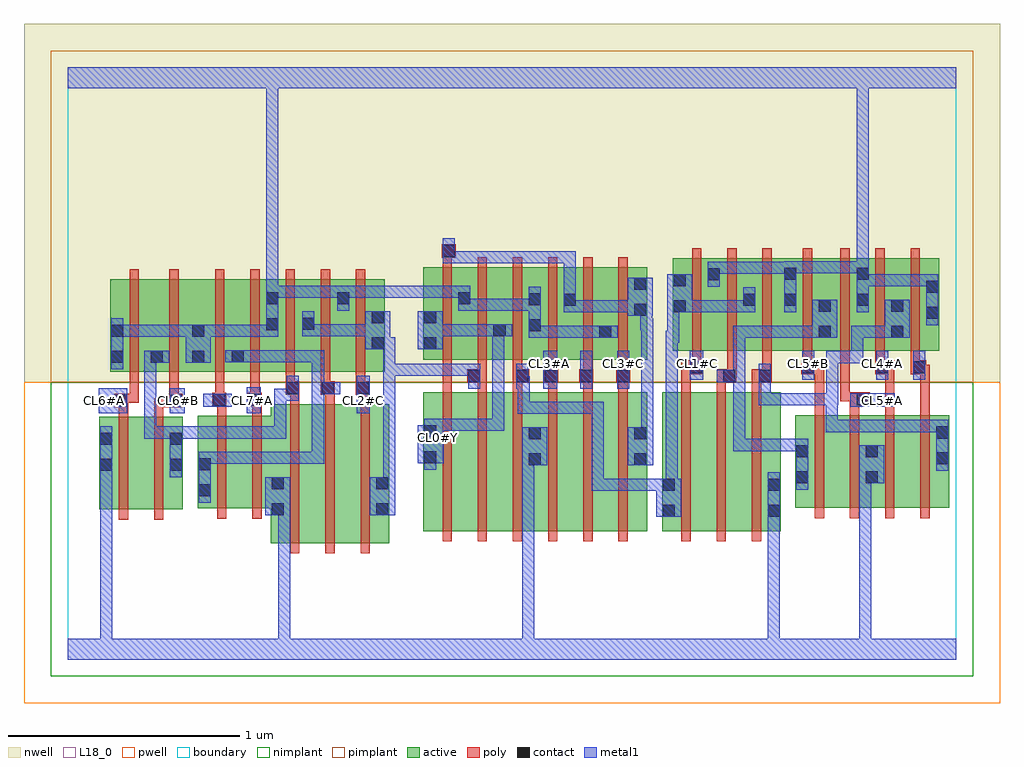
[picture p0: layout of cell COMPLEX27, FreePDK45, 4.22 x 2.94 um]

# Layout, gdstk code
import gdstk
lib = gdstk.Library(unit=1e-6, precision=1e-09)
def R(c, l, rs):  # rectangles x0, y0, x1, y1
    for r in rs: c.add(gdstk.rectangle(r[:2], r[2:], *l))
def A(c, l, x, y, w, h, nx, ny, dx, dy):  # array of equal rectangles
    R(c, l, [(x+i*dx, y+j*dy, x+i*dx+w, y+j*dy+h) for i in range(nx) for j in range(ny)])
active = (1, 0)
pwell = (2, 0)
nwell = (3, 0)
nimplant = (4, 0)
pimplant = (5, 0)
poly = (9, 0)
contact = (10, 0)
metal1 = (11, 0)
L18_0 = (18, 0)
boundary = (235, 0)

complex27 = lib.new_cell('COMPLEX27')
A(complex27, active, 1.684, 1.296, 0.212, 0.4, 5, 1, 0.152, 0)
R(complex27, active, [(0.878,0.504,1.058,1.104), (1.058,0.504,1.21,1.104), (1.21,0.504,1.39,1.104), (1.33,0.556,1.39,1.104), (1.536,0.556,1.596,1.156), (1.536,0.556,1.716,1.156), (1.716,0.556,1.868,1.156), (1.868,0.556,2.048,1.156), (1.988,0.556,2.172,1.156), (1.988,0.556,2.048,1.008), (2.172,0.556,2.324,1.156), (2.324,0.556,2.504,1.156), (2.444,0.556,2.504,1.156), (2.568,0.556,2.628,1.156), (2.568,0.556,2.748,1.156), (2.748,0.556,2.9,1.156), (2.9,0.556,3.08,1.156), (3.02,0.556,3.08,1.156), (0.878,0.62,0.938,0.792), (0.138,0.65,0.318,1.05), (0.138,0.65,0.198,1.05), (0.318,0.65,0.498,1.05), (0.438,0.65,0.498,1.05), (0.562,0.654,0.742,1.054), (0.742,0.654,0.938,1.054), (3.144,0.656,3.324,1.056), (3.324,0.656,3.504,1.056), (3.444,0.656,3.628,1.056), (3.444,0.656,3.504,1.056), (3.628,0.656,3.808,1.056), (0.562,0.702,0.622,1.054), (3.144,0.756,3.204,1.056), (3.748,0.756,3.808,1.056), (0.184,1.244,0.244,1.644), (0.184,1.244,0.416,1.644), (0.356,1.244,0.594,1.644), (0.534,1.244,0.766,1.644), (0.706,1.244,0.914,1.644), (0.854,1.244,1.07,1.644), (1.01,1.244,1.222,1.644), (1.162,1.244,1.37,1.644), (1.31,1.244,1.37,1.644), (0.356,1.28,0.416,1.644), (0.534,1.28,0.594,1.644), (0.706,1.282,0.766,1.644), (1.536,1.296,1.596,1.696), (1.536,1.296,1.744,1.696), (1.684,1.296,1.744,1.696), (2.444,1.296,2.504,1.696), (2.614,1.334,2.674,1.734), (2.614,1.334,2.822,1.734), (2.762,1.334,2.974,1.734), (2.914,1.334,3.152,1.734), (3.092,1.334,3.3,1.734), (3.24,1.334,3.466,1.734), (3.406,1.334,3.614,1.734), (3.554,1.334,3.766,1.734), (3.706,1.334,3.766,1.644), (2.292,1.388,2.352,1.644), (3.24,1.388,3.3,1.644), (3.554,1.388,3.614,1.644), (1.836,1.394,1.896,1.644), (1.988,1.416,2.048,1.644), (0.854,1.42,0.914,1.644), (1.01,1.422,1.07,1.644), (2.762,1.472,2.822,1.734), (3.092,1.472,3.152,1.734), (2.14,1.526,2.2,1.644), (2.914,1.526,2.974,1.644), (3.406,1.526,3.466,1.698), (1.162,1.532,1.222,1.644)])
R(complex27, pwell, [(-0.188,-0.188,4.028,1.2)])
R(complex27, nwell, [(-0.188,1.2,4.028,2.748)])
R(complex27, nimplant, [(-0.072,-0.072,3.912,1.2)])
R(complex27, pimplant, [(-0.072,1.2,3.912,2.632)])
A(complex27, poly, 0.962, 0.46, 0.04, 0.688, 3, 1, 0.152, 0)
A(complex27, poly, 1.62, 0.512, 0.04, 0.688, 6, 1, 0.152, 0)
A(complex27, poly, 2.652, 0.512, 0.04, 0.688, 3, 1, 0.152, 0)
A(complex27, poly, 3.228, 0.612, 0.04, 0.488, 4, 1, 0.152, 0)
A(complex27, poly, 0.962, 1.108, 0.04, 0.076, 3, 1, 0.152, 0)
A(complex27, poly, 0.942, 1.144, 0.06, 0.06, 3, 1, 0.152, 0)
A(complex27, poly, 1.62, 1.16, 0.04, 0.076, 6, 1, 0.152, 0)
A(complex27, poly, 0.942, 1.164, 0.04, 0.076, 3, 1, 0.152, 0)
A(complex27, poly, 0.638, 1.2, 0.04, 0.488, 5, 1, 0.152, 0)
A(complex27, poly, 1.772, 1.216, 0.04, 0.076, 5, 1, 0.152, 0)
A(complex27, poly, 1.62, 1.252, 0.04, 0.488, 6, 1, 0.152, 0)
A(complex27, poly, 2.698, 1.29, 0.04, 0.488, 3, 1, 0.152, 0)
A(complex27, poly, 3.338, 1.29, 0.04, 0.488, 3, 1, 0.152, 0)
R(complex27, poly, [(0.222,0.606,0.262,1.094), (0.374,0.606,0.414,1.094), (0.646,0.61,0.686,1.098), (0.798,0.61,0.838,1.098), (0.222,1.054,0.262,1.13), (0.374,1.054,0.414,1.13), (0.646,1.058,0.686,1.134), (0.798,1.058,0.838,1.134), (3.228,1.06,3.268,1.274), (3.38,1.06,3.42,1.136), (3.532,1.06,3.572,1.274), (3.684,1.06,3.724,1.274), (0.202,1.09,0.262,1.15), (0.374,1.09,0.478,1.13), (0.438,1.09,0.478,1.13), (0.438,1.09,0.498,1.15), (0.626,1.094,0.686,1.154), (0.646,1.094,0.686,1.134), (0.646,1.094,0.686,1.134), (0.778,1.094,0.838,1.154), (0.798,1.094,0.838,1.134), (0.798,1.094,0.838,1.134), (3.38,1.096,3.466,1.156), (0.222,1.11,0.262,1.15), (0.222,1.11,0.308,1.15), (0.268,1.11,0.308,1.24), (0.44,1.11,0.48,1.24), (0.638,1.114,0.678,1.24), (0.79,1.114,0.83,1.24), (3.338,1.116,3.378,1.33), (3.338,1.116,3.42,1.156), (3.38,1.116,3.42,1.156), (2.652,1.16,2.692,1.274), (2.804,1.16,2.844,1.236), (2.956,1.16,2.996,1.236), (0.942,1.164,0.982,1.204), (0.942,1.164,0.982,1.204), (1.094,1.164,1.134,1.204), (1.094,1.164,1.134,1.204), (1.246,1.164,1.286,1.204), (1.246,1.164,1.286,1.204), (1.62,1.196,1.66,1.236), (1.62,1.196,1.66,1.236), (1.62,1.196,1.66,1.236), (1.62,1.196,1.66,1.292), (1.726,1.196,1.812,1.256), (1.924,1.196,1.994,1.256), (2.06,1.196,2.12,1.256), (2.21,1.196,2.27,1.256), (2.37,1.196,2.43,1.256), (2.804,1.196,2.888,1.256), (2.956,1.196,3.042,1.256), (0.268,1.2,0.308,1.688), (0.44,1.2,0.48,1.688), (1.772,1.216,1.812,1.256), (1.772,1.216,1.812,1.256), (1.924,1.216,1.964,1.256), (1.924,1.216,1.964,1.256), (2.076,1.216,2.116,1.256), (2.076,1.216,2.116,1.256), (2.228,1.216,2.268,1.256), (2.228,1.216,2.268,1.256), (2.38,1.216,2.42,1.256), (2.38,1.216,2.42,1.256), (2.848,1.216,2.888,1.256), (2.848,1.216,2.89,1.256), (2.85,1.216,2.89,1.33), (3.002,1.216,3.042,1.256), (3.002,1.216,3.042,1.256), (3.002,1.216,3.042,1.33), (2.652,1.234,2.744,1.294), (3.17,1.234,3.23,1.294), (3.19,1.234,3.23,1.274), (3.19,1.234,3.268,1.274), (3.49,1.234,3.572,1.294), (3.532,1.234,3.572,1.274), (3.532,1.234,3.572,1.274), (3.642,1.234,3.71,1.294), (3.67,1.234,3.71,1.274), (3.67,1.234,3.724,1.274), (2.698,1.254,2.738,1.33), (2.698,1.254,2.738,1.294), (2.698,1.254,2.738,1.294), (3.176,1.254,3.216,1.33), (3.49,1.254,3.53,1.33), (3.642,1.254,3.682,1.33), (3.176,1.29,3.216,1.778), (1.62,1.7,1.66,1.776), (1.616,1.736,1.676,1.796)])
A(complex27, contact, 0.946, 1.148, 0.052, 0.052, 3, 1, 0.152, 0)
R(complex27, contact, [(2.572,0.618,2.624,0.67), (3.024,0.618,3.076,0.67), (0.882,0.624,0.934,0.676), (1.334,0.624,1.386,0.676), (0.566,0.706,0.618,0.758), (2.572,0.73,2.624,0.782), (3.024,0.73,3.076,0.782), (0.882,0.736,0.934,0.788), (1.334,0.736,1.386,0.788), (3.148,0.762,3.2,0.814), (3.448,0.762,3.5,0.814), (0.142,0.816,0.194,0.868), (0.442,0.816,0.494,0.868), (0.566,0.818,0.618,0.87), (1.992,0.84,2.044,0.892), (2.448,0.84,2.5,0.892), (3.752,0.844,3.804,0.896), (1.54,0.85,1.592,0.902), (1.54,0.85,1.592,0.902), (3.148,0.874,3.2,0.926), (3.448,0.874,3.5,0.926), (0.142,0.928,0.194,0.98), (0.442,0.928,0.494,0.98), (1.992,0.952,2.044,1.004), (2.448,0.952,2.5,1.004), (3.752,0.956,3.804,1.008), (1.54,0.962,1.592,1.014), (1.54,0.962,1.592,1.014), (0.206,1.094,0.258,1.146), (0.442,1.094,0.494,1.146), (0.63,1.098,0.682,1.15), (0.782,1.098,0.834,1.15), (3.41,1.1,3.462,1.152), (1.73,1.2,1.782,1.252), (1.938,1.2,1.99,1.252), (2.064,1.2,2.116,1.252), (2.214,1.2,2.266,1.252), (2.374,1.2,2.426,1.252), (2.832,1.2,2.884,1.252), (2.986,1.2,3.038,1.252), (2.688,1.238,2.74,1.29), (3.174,1.238,3.226,1.29), (3.494,1.238,3.546,1.29), (3.654,1.238,3.706,1.29), (0.188,1.284,0.24,1.336), (0.36,1.284,0.412,1.336), (0.538,1.284,0.59,1.336), (0.71,1.286,0.762,1.338), (1.314,1.342,1.366,1.394), (1.54,1.342,1.592,1.394), (2.296,1.392,2.348,1.444), (3.244,1.392,3.296,1.444), (3.558,1.392,3.61,1.444), (0.188,1.396,0.24,1.448), (0.538,1.396,0.59,1.448), (1.84,1.398,1.892,1.45), (1.992,1.42,2.044,1.472), (0.858,1.424,0.91,1.476), (1.014,1.426,1.066,1.478), (1.314,1.454,1.366,1.506), (1.54,1.454,1.592,1.506), (3.71,1.474,3.762,1.526), (2.448,1.486,2.5,1.538), (2.618,1.502,2.67,1.554), (3.244,1.504,3.296,1.556), (3.558,1.504,3.61,1.556), (2.144,1.53,2.196,1.582), (2.918,1.53,2.97,1.582), (3.096,1.53,3.148,1.582), (3.41,1.53,3.462,1.582), (1.992,1.532,2.044,1.584), (0.858,1.536,0.91,1.588), (1.166,1.536,1.218,1.588), (1.688,1.536,1.74,1.588), (3.71,1.586,3.762,1.638), (2.448,1.598,2.5,1.65), (2.618,1.614,2.67,1.666), (2.766,1.64,2.818,1.692), (3.096,1.642,3.148,1.694), (3.41,1.642,3.462,1.694), (1.62,1.74,1.672,1.792)])
A(complex27, metal1, 2.766, 1.668, 0.052, 0.052, 3, 1, 0.11, 0)
A(complex27, metal1, 2.766, 1.668, 0.162, 0.052, 3, 1, 0.11, 0)
R(complex27, metal1, [(0,0,3.84,0.092), (0.142,0.04,0.194,0.092), (0.142,0.04,0.194,0.092), (0.142,0.04,0.194,0.092), (0.142,0.04,0.194,0.092), (0.142,0.04,0.194,0.092), (0.142,0.04,0.194,0.092), (0.142,0.04,0.194,0.092), (0.142,0.04,0.194,0.092), (0.142,0.04,0.194,0.84), (0.91,0.04,0.962,0.092), (0.91,0.04,0.962,0.092), (0.91,0.04,0.962,0.092), (0.91,0.04,0.962,0.092), (0.91,0.04,0.962,0.092), (0.91,0.04,0.962,0.092), (0.91,0.04,0.962,0.092), (0.91,0.04,0.962,0.092), (0.91,0.04,0.962,0.676), (1.964,0.04,2.016,0.892), (3.024,0.04,3.076,0.092), (3.024,0.04,3.076,0.092), (3.024,0.04,3.076,0.642), (3.42,0.04,3.472,0.814), (3.024,0.59,3.076,0.642), (3.024,0.59,3.076,0.642), (3.024,0.59,3.076,0.642), (3.024,0.59,3.076,0.642), (3.024,0.59,3.076,0.642), (3.024,0.59,3.076,0.642), (3.024,0.59,3.076,0.81), (2.544,0.618,2.652,0.782), (0.854,0.624,0.962,0.788), (1.306,0.624,1.416,0.788), (0.566,0.678,0.618,0.898), (2.264,0.73,2.316,0.782), (2.264,0.73,2.486,0.782), (2.264,0.73,2.316,1.114), (2.434,0.73,2.486,0.782), (2.434,0.73,2.486,0.782), (2.434,0.73,2.486,0.782), (2.434,0.73,2.596,0.782), (2.584,0.73,2.636,0.782), (2.584,0.73,2.636,0.782), (2.584,0.73,2.636,1.422), (3.148,0.734,3.2,0.954), (1.364,0.736,1.416,1.28), (3.42,0.762,3.472,0.814), (3.42,0.762,3.472,0.814), (3.42,0.762,3.472,0.814), (3.42,0.762,3.472,0.814), (3.42,0.762,3.472,0.814), (3.42,0.762,3.472,0.814), (3.42,0.762,3.472,0.814), (3.42,0.762,3.472,0.814), (3.42,0.762,3.472,0.814), (3.42,0.762,3.472,0.814), (3.42,0.762,3.472,0.814), (3.42,0.762,3.472,0.814), (3.42,0.762,3.528,0.926), (0.142,0.788,0.194,0.84), (0.142,0.788,0.194,0.84), (0.142,0.788,0.194,0.84), (0.142,0.788,0.194,0.84), (0.142,0.788,0.194,1.008), (0.442,0.788,0.494,1.008), (3.752,0.816,3.804,1.036), (1.54,0.822,1.592,1.042), (1.964,0.84,2.016,0.892), (1.964,0.84,2.016,0.892), (1.964,0.84,2.016,0.892), (1.964,0.84,2.016,0.892), (1.964,0.84,2.016,0.892), (1.964,0.84,2.016,0.892), (1.964,0.84,2.016,0.892), (1.964,0.84,2.016,0.892), (1.964,0.84,2.072,1.004), (2.42,0.84,2.53,1.004), (0.566,0.846,0.618,0.898), (0.566,0.846,0.618,0.898), (0.566,0.846,0.796,0.898), (0.744,0.846,0.796,0.898), (0.744,0.846,0.796,0.898), (0.744,0.846,0.796,0.898), (0.744,0.846,0.946,0.898), (0.894,0.846,0.946,0.898), (0.894,0.846,0.946,0.898), (0.894,0.846,0.946,0.898), (0.894,0.846,1.108,0.898), (1.056,0.846,1.108,0.898), (1.056,0.846,1.108,1.2), (1.512,0.85,1.626,1.014), (2.876,0.902,2.928,0.954), (2.876,0.902,3.038,0.954), (2.876,0.902,2.928,1.252), (2.986,0.902,3.038,0.954), (2.986,0.902,3.038,0.954), (2.986,0.902,3.038,0.954), (2.986,0.902,3.2,0.954), (2.478,0.952,2.53,1.476), (0.332,0.956,0.384,1.008), (0.332,0.956,0.384,1.008), (0.332,0.956,0.384,1.008), (0.332,0.956,0.384,1.008), (0.332,0.956,0.384,1.008), (0.332,0.956,0.384,1.008), (0.332,0.956,0.384,1.008), (0.332,0.956,0.494,1.008), (0.332,0.956,0.508,1.008), (0.332,0.956,0.384,1.336), (0.456,0.956,0.508,1.008), (0.456,0.956,0.508,1.008), (0.456,0.956,0.508,1.008), (0.456,0.956,0.618,1.008), (0.566,0.956,0.618,1.008), (0.566,0.956,0.796,1.008), (0.744,0.956,0.796,1.008), (0.744,0.956,0.796,1.008), (0.744,0.956,0.796,1.008), (0.744,0.956,0.944,1.008), (0.892,0.956,0.944,1.172), (3.276,0.984,3.328,1.036), (3.276,0.984,3.352,1.036), (3.276,0.984,3.328,1.152), (3.3,0.984,3.352,1.036), (3.3,0.984,3.472,1.036), (3.42,0.984,3.472,1.036), (3.42,0.984,3.582,1.036), (3.53,0.984,3.582,1.036), (3.53,0.984,3.582,1.036), (3.53,0.984,3.582,1.036), (3.53,0.984,3.804,1.036), (3.752,0.984,3.804,1.036), (3.752,0.984,3.804,1.036), (1.54,0.99,1.592,1.042), (1.54,0.99,1.592,1.042), (1.54,0.99,1.736,1.042), (1.684,0.99,1.736,1.042), (1.684,0.99,1.782,1.042), (1.73,0.99,1.782,1.042), (1.73,0.99,1.886,1.042), (1.834,0.99,1.886,1.042), (1.834,0.99,1.886,1.042), (1.834,0.99,1.886,1.042), (1.834,0.99,1.886,1.45), (1.944,1.062,1.996,1.114), (1.944,1.062,2.106,1.114), (1.944,1.062,1.996,1.224), (2.054,1.062,2.106,1.114), (2.054,1.062,2.154,1.114), (2.102,1.062,2.154,1.114), (2.102,1.062,2.316,1.114), (2.264,1.062,2.316,1.114), (2.264,1.062,2.316,1.114), (2.264,1.062,2.316,1.114), (0.134,1.066,0.258,1.174), (0.442,1.066,0.506,1.174), (0.774,1.066,0.834,1.178), (1.25,1.066,1.306,1.228), (0.586,1.094,0.71,1.15), (3.382,1.094,3.574,1.152), (2.986,1.1,3.038,1.224), (2.986,1.1,3.148,1.152), (3.096,1.1,3.148,1.152), (3.096,1.1,3.19,1.152), (3.138,1.1,3.19,1.152), (3.138,1.1,3.328,1.152), (3.276,1.1,3.33,1.152), (3.278,1.1,3.33,1.334), (0.892,1.12,0.998,1.172), (0.946,1.12,0.998,1.228), (1.056,1.148,1.108,1.2), (1.056,1.148,1.122,1.2), (1.056,1.148,1.108,1.338), (1.07,1.148,1.178,1.2), (1.73,1.172,1.782,1.28), (1.938,1.172,1.99,1.28), (1.938,1.172,1.996,1.224), (1.944,1.172,1.996,1.224), (2.054,1.172,2.116,1.334), (2.214,1.172,2.266,1.334), (2.374,1.172,2.426,1.334), (2.986,1.172,3.038,1.224), (2.986,1.172,3.038,1.28), (2.804,1.2,2.912,1.252), (2.86,1.2,2.928,1.252), (2.876,1.2,2.928,1.252), (2.876,1.2,2.928,1.444), (2.688,1.21,2.746,1.334), (3.174,1.21,3.226,1.334), (3.494,1.21,3.546,1.334), (3.654,1.21,3.706,1.334), (1.364,1.228,1.416,1.28), (1.364,1.228,1.592,1.28), (1.364,1.228,1.416,1.394), (1.54,1.228,1.592,1.28), (1.54,1.228,1.592,1.28), (1.54,1.228,1.592,1.28), (1.54,1.228,1.73,1.28), (1.678,1.228,1.73,1.28), (1.678,1.228,1.782,1.28), (0.188,1.256,0.24,1.476), (3.278,1.282,3.33,1.334), (3.278,1.282,3.352,1.334), (3.3,1.282,3.352,1.334), (3.3,1.282,3.438,1.334), (3.386,1.282,3.438,1.334), (3.386,1.282,3.438,1.444), (0.332,1.284,0.384,1.336), (0.332,1.284,0.384,1.336), (0.332,1.284,0.44,1.336), (0.51,1.284,0.618,1.448), (0.682,1.286,0.79,1.338), (0.738,1.286,0.79,1.338), (0.738,1.286,0.79,1.338), (0.738,1.286,0.956,1.338), (0.904,1.286,0.956,1.338), (0.904,1.286,0.956,1.338), (0.904,1.286,0.956,1.338), (0.904,1.286,0.956,1.338), (0.904,1.286,0.956,1.338), (0.904,1.286,1.108,1.338), (1.056,1.286,1.108,1.338), (1.286,1.342,1.394,1.506), (1.342,1.342,1.394,1.394), (1.342,1.342,1.416,1.394), (1.512,1.342,1.62,1.506), (2.584,1.37,2.636,1.422), (2.584,1.37,2.636,1.422), (2.584,1.37,2.642,1.422), (2.59,1.37,2.642,1.554), (1.992,1.392,2.044,1.612), (1.992,1.392,2.106,1.444), (2.054,1.392,2.106,1.444), (2.054,1.392,2.154,1.444), (2.102,1.392,2.154,1.444), (2.102,1.392,2.216,1.444), (2.164,1.392,2.216,1.444), (2.164,1.392,2.32,1.444), (2.268,1.392,2.376,1.444), (2.876,1.392,2.928,1.444), (2.876,1.392,3.022,1.444), (2.97,1.392,3.022,1.444), (2.97,1.392,3.08,1.444), (3.028,1.392,3.08,1.444), (3.028,1.392,3.08,1.444), (3.028,1.392,3.08,1.444), (3.028,1.392,3.158,1.444), (3.106,1.392,3.158,1.444), (3.106,1.392,3.19,1.444), (3.138,1.392,3.19,1.444), (3.138,1.392,3.268,1.444), (3.216,1.392,3.324,1.556), (3.386,1.392,3.438,1.444), (3.386,1.392,3.582,1.444), (3.53,1.392,3.582,1.444), (3.53,1.392,3.582,1.444), (3.53,1.392,3.638,1.556), (0.188,1.396,0.24,1.448), (0.188,1.396,0.24,1.448), (0.188,1.396,0.384,1.448), (0.332,1.396,0.384,1.448), (0.332,1.396,0.384,1.448), (0.332,1.396,0.384,1.448), (0.332,1.396,0.494,1.448), (0.442,1.396,0.494,1.448), (0.442,1.396,0.562,1.448), (0.566,1.396,0.618,1.448), (0.566,1.396,0.618,1.448), (0.566,1.396,0.728,1.448), (0.676,1.396,0.728,1.448), (0.676,1.396,0.728,1.448), (0.676,1.396,0.728,1.448), (0.676,1.396,0.91,1.448), (0.858,1.396,0.91,1.616), (1.014,1.398,1.108,1.45), (1.014,1.398,1.066,1.506), (1.056,1.398,1.108,1.45), (1.056,1.398,1.218,1.45), (1.166,1.398,1.218,1.45), (1.166,1.398,1.218,1.45), (1.166,1.398,1.218,1.45), (1.166,1.398,1.338,1.45), (1.568,1.398,1.62,1.45), (1.568,1.398,1.62,1.45), (1.568,1.398,1.754,1.45), (1.702,1.398,1.754,1.45), (1.702,1.398,1.864,1.45), (1.812,1.398,1.864,1.45), (1.812,1.398,1.864,1.45), (1.812,1.398,1.92,1.45), (1.834,1.398,1.886,1.45), (1.834,1.398,1.886,1.45), (2.474,1.424,2.526,1.476), (2.474,1.424,2.526,1.476), (2.474,1.424,2.526,1.538), (2.474,1.424,2.53,1.476), (2.478,1.424,2.53,1.476), (2.478,1.424,2.53,1.476), (3.71,1.446,3.762,1.666), (2.42,1.486,2.528,1.65), (2.474,1.486,2.526,1.538), (2.474,1.486,2.526,1.538), (2.474,1.486,2.526,1.538), (2.474,1.486,2.526,1.538), (2.144,1.502,2.306,1.554), (2.144,1.502,2.196,1.61), (2.254,1.502,2.306,1.554), (2.254,1.502,2.306,1.554), (2.254,1.502,2.306,1.554), (2.254,1.502,2.472,1.554), (2.42,1.502,2.472,1.554), (2.42,1.502,2.472,1.554), (2.59,1.502,2.698,1.666), (2.646,1.502,2.698,1.554), (2.646,1.502,2.698,1.554), (2.646,1.502,2.808,1.554), (2.756,1.502,2.808,1.554), (2.756,1.502,2.808,1.554), (2.756,1.502,2.808,1.554), (2.756,1.502,2.97,1.554), (2.918,1.502,2.97,1.61), (3.096,1.502,3.148,1.722), (3.41,1.502,3.462,1.722), (1.166,1.508,1.218,1.616), (1.688,1.508,1.74,1.56), (1.688,1.508,1.74,1.56), (1.688,1.508,1.782,1.56), (1.688,1.508,1.74,1.616), (1.73,1.508,1.782,1.56), (1.73,1.508,1.886,1.56), (1.834,1.508,1.886,1.56), (1.834,1.508,1.974,1.56), (1.922,1.508,1.974,1.56), (1.922,1.508,2.044,1.56), (2.144,1.558,2.196,1.764), (0.858,1.564,0.91,1.616), (0.858,1.564,0.91,1.616), (0.858,1.564,0.91,1.616), (0.858,1.564,0.91,1.616), (0.858,1.564,0.998,1.616), (0.858,1.564,0.91,2.52), (0.946,1.564,0.998,1.616), (0.946,1.564,1.108,1.616), (1.056,1.564,1.108,1.616), (1.056,1.564,1.108,1.616), (1.056,1.564,1.108,1.616), (1.056,1.564,1.218,1.616), (1.166,1.564,1.218,1.616), (1.166,1.564,1.218,1.616), (1.166,1.564,1.482,1.616), (1.43,1.564,1.482,1.616), (1.43,1.564,1.482,1.616), (1.43,1.564,1.482,1.616), (1.43,1.564,1.672,1.616), (1.62,1.564,1.672,1.616), (1.62,1.564,1.74,1.616), (2.766,1.612,2.818,1.72), (3.41,1.614,3.462,1.666), (3.41,1.614,3.462,1.666), (3.41,1.614,3.582,1.666), (3.53,1.614,3.582,1.666), (3.53,1.614,3.762,1.666), (3.71,1.614,3.762,1.666), (3.71,1.614,3.762,1.666), (2.766,1.668,2.818,1.72), (2.986,1.668,3.038,1.72), (2.986,1.668,3.038,1.72), (3.096,1.67,3.19,1.722), (3.138,1.67,3.19,1.722), (3.138,1.67,3.328,1.722), (3.276,1.67,3.328,1.722), (3.276,1.67,3.352,1.722), (3.3,1.67,3.352,1.722), (3.3,1.67,3.462,1.722), (3.41,1.67,3.462,2.52), (1.62,1.712,1.73,1.764), (1.62,1.712,1.672,1.82), (1.678,1.712,1.73,1.764), (1.678,1.712,1.864,1.764), (1.812,1.712,1.864,1.764), (1.812,1.712,1.864,1.764), (1.812,1.712,1.864,1.764), (1.812,1.712,1.996,1.764), (1.944,1.712,1.996,1.764), (1.944,1.712,1.996,1.764), (1.944,1.712,1.996,1.764), (1.944,1.712,2.106,1.764), (2.054,1.712,2.106,1.764), (2.054,1.712,2.196,1.764), (2.144,1.712,2.196,1.764), (0,2.468,3.84,2.56), (0.858,2.468,0.91,2.52), (0.858,2.468,0.91,2.52), (0.858,2.468,0.91,2.52), (0.858,2.468,0.91,2.52), (0.858,2.468,0.91,2.52), (0.858,2.468,0.91,2.52), (0.858,2.468,0.91,2.52), (0.858,2.468,0.91,2.52), (0.858,2.468,0.91,2.52), (0.858,2.468,0.91,2.52), (0.858,2.468,0.91,2.52), (0.858,2.468,0.91,2.52), (3.41,2.468,3.462,2.52), (3.41,2.468,3.462,2.52), (3.41,2.468,3.462,2.52), (3.41,2.468,3.462,2.52), (3.41,2.468,3.462,2.52), (3.41,2.468,3.462,2.52), (3.41,2.468,3.462,2.52), (3.41,2.468,3.462,2.52), (3.41,2.468,3.462,2.52), (3.41,2.468,3.462,2.52), (3.41,2.468,3.462,2.52), (3.41,2.468,3.462,2.52), (3.41,2.468,3.462,2.52), (3.41,2.468,3.462,2.52), (3.41,2.468,3.462,2.52), (3.41,2.468,3.462,2.52)])
A(complex27, L18_0, 0.454, 1.094, 0.052, 0.052, 3, 1, 0.16, 0)
A(complex27, L18_0, 2.054, 1.254, 0.052, 0.052, 3, 1, 0.16, 0)
A(complex27, L18_0, 2.766, 1.668, 0.052, 0.052, 3, 1, 0.11, 0)
A(complex27, L18_0, 2.766, 1.668, 0.162, 0.052, 3, 1, 0.11, 0)
R(complex27, L18_0, [(0,0,3.84,0.092), (0.142,0.04,0.194,0.092), (0.142,0.04,0.194,0.092), (0.142,0.04,0.194,0.092), (0.142,0.04,0.194,0.092), (0.142,0.04,0.194,0.092), (0.142,0.04,0.194,0.092), (0.142,0.04,0.194,0.092), (0.142,0.04,0.194,0.092), (0.142,0.04,0.194,0.84), (0.91,0.04,0.962,0.092), (0.91,0.04,0.962,0.092), (0.91,0.04,0.962,0.092), (0.91,0.04,0.962,0.092), (0.91,0.04,0.962,0.092), (0.91,0.04,0.962,0.092), (0.91,0.04,0.962,0.092), (0.91,0.04,0.962,0.092), (0.91,0.04,0.962,0.676), (1.964,0.04,2.016,0.892), (3.024,0.04,3.076,0.092), (3.024,0.04,3.076,0.092), (3.024,0.04,3.076,0.642), (3.42,0.04,3.472,0.814), (3.024,0.59,3.076,0.642), (3.024,0.59,3.076,0.642), (3.024,0.59,3.076,0.642), (3.024,0.59,3.076,0.642), (3.024,0.59,3.076,0.642), (3.024,0.59,3.076,0.642), (3.024,0.59,3.076,0.81), (0.854,0.624,0.962,0.788), (3.42,0.762,3.472,0.814), (3.42,0.762,3.472,0.814), (3.42,0.762,3.472,0.814), (3.42,0.762,3.472,0.814), (3.42,0.762,3.472,0.814), (3.42,0.762,3.472,0.814), (3.42,0.762,3.472,0.814), (3.42,0.762,3.472,0.814), (3.42,0.762,3.472,0.814), (3.42,0.762,3.472,0.814), (3.42,0.762,3.472,0.814), (3.42,0.762,3.472,0.814), (3.42,0.762,3.528,0.926), (0.142,0.788,0.194,0.84), (0.142,0.788,0.194,0.84), (0.142,0.788,0.194,0.84), (0.142,0.788,0.194,0.84), (0.142,0.788,0.194,1.008), (1.54,0.822,1.592,1.042), (1.964,0.84,2.016,0.892), (1.964,0.84,2.016,0.892), (1.964,0.84,2.016,0.892), (1.964,0.84,2.016,0.892), (1.964,0.84,2.016,0.892), (1.964,0.84,2.016,0.892), (1.964,0.84,2.016,0.892), (1.964,0.84,2.016,0.892), (1.964,0.84,2.072,1.004), (1.512,0.85,1.626,1.014), (1.574,0.934,1.626,0.986), (1.54,0.99,1.592,1.042), (1.54,0.99,1.592,1.042), (1.54,0.99,1.736,1.042), (1.684,0.99,1.736,1.042), (1.684,0.99,1.782,1.042), (1.73,0.99,1.782,1.042), (1.73,0.99,1.886,1.042), (1.834,0.99,1.886,1.042), (1.834,0.99,1.886,1.042), (1.834,0.99,1.886,1.042), (1.834,0.99,1.886,1.45), (0.134,1.066,0.258,1.174), (0.442,1.066,0.506,1.174), (0.774,1.066,0.834,1.178), (1.25,1.066,1.306,1.228), (0.134,1.094,0.186,1.146), (0.586,1.094,0.71,1.15), (1.254,1.094,1.306,1.146), (3.382,1.094,3.574,1.152), (3.494,1.094,3.546,1.146), (2.054,1.172,2.116,1.334), (2.214,1.172,2.266,1.334), (2.374,1.172,2.426,1.334), (2.688,1.21,2.746,1.334), (3.174,1.21,3.226,1.334), (3.494,1.21,3.546,1.334), (3.654,1.21,3.706,1.334), (2.694,1.254,2.746,1.306), (3.174,1.254,3.226,1.306), (3.494,1.254,3.546,1.306), (3.654,1.254,3.706,1.306), (0.188,1.256,0.24,1.476), (0.51,1.284,0.618,1.448), (1.512,1.342,1.62,1.506), (1.992,1.392,2.044,1.612), (1.992,1.392,2.106,1.444), (2.054,1.392,2.106,1.444), (2.054,1.392,2.154,1.444), (2.102,1.392,2.154,1.444), (2.102,1.392,2.216,1.444), (2.164,1.392,2.216,1.444), (2.164,1.392,2.32,1.444), (2.268,1.392,2.376,1.444), (0.188,1.396,0.24,1.448), (0.188,1.396,0.24,1.448), (0.188,1.396,0.384,1.448), (0.332,1.396,0.384,1.448), (0.332,1.396,0.384,1.448), (0.332,1.396,0.384,1.448), (0.332,1.396,0.494,1.448), (0.442,1.396,0.494,1.448), (0.442,1.396,0.562,1.448), (0.566,1.396,0.618,1.448), (0.566,1.396,0.618,1.448), (0.566,1.396,0.728,1.448), (0.676,1.396,0.728,1.448), (0.676,1.396,0.728,1.448), (0.676,1.396,0.728,1.448), (0.676,1.396,0.91,1.448), (0.858,1.396,0.91,1.616), (1.568,1.398,1.62,1.45), (1.568,1.398,1.62,1.45), (1.568,1.398,1.754,1.45), (1.702,1.398,1.754,1.45), (1.702,1.398,1.864,1.45), (1.812,1.398,1.864,1.45), (1.812,1.398,1.864,1.45), (1.812,1.398,1.92,1.45), (1.834,1.398,1.886,1.45), (1.834,1.398,1.886,1.45), (3.71,1.446,3.762,1.666), (3.096,1.502,3.148,1.722), (3.41,1.502,3.462,1.722), (1.166,1.508,1.218,1.616), (1.688,1.508,1.74,1.56), (1.688,1.508,1.74,1.56), (1.688,1.508,1.74,1.616), (1.688,1.508,1.782,1.56), (1.73,1.508,1.782,1.56), (1.73,1.508,1.886,1.56), (1.834,1.508,1.886,1.56), (1.834,1.508,1.974,1.56), (1.922,1.508,1.974,1.56), (1.922,1.508,2.044,1.56), (0.858,1.564,0.91,1.616), (0.858,1.564,0.91,1.616), (0.858,1.564,0.91,1.616), (0.858,1.564,0.91,1.616), (0.858,1.564,0.91,2.52), (0.858,1.564,0.998,1.616), (0.946,1.564,0.998,1.616), (0.946,1.564,1.108,1.616), (1.056,1.564,1.108,1.616), (1.056,1.564,1.108,1.616), (1.056,1.564,1.108,1.616), (1.056,1.564,1.218,1.616), (1.166,1.564,1.218,1.616), (1.166,1.564,1.218,1.616), (1.166,1.564,1.482,1.616), (1.43,1.564,1.482,1.616), (1.43,1.564,1.482,1.616), (1.43,1.564,1.482,1.616), (1.43,1.564,1.672,1.616), (1.62,1.564,1.672,1.616), (1.62,1.564,1.74,1.616), (2.766,1.612,2.818,1.72), (3.41,1.614,3.462,1.666), (3.41,1.614,3.462,1.666), (3.41,1.614,3.582,1.666), (3.53,1.614,3.582,1.666), (3.53,1.614,3.762,1.666), (3.71,1.614,3.762,1.666), (3.71,1.614,3.762,1.666), (2.766,1.668,2.818,1.72), (2.986,1.668,3.038,1.72), (2.986,1.668,3.038,1.72), (3.096,1.67,3.19,1.722), (3.138,1.67,3.19,1.722), (3.138,1.67,3.328,1.722), (3.276,1.67,3.328,1.722), (3.276,1.67,3.352,1.722), (3.3,1.67,3.352,1.722), (3.3,1.67,3.462,1.722), (3.41,1.67,3.462,2.52), (0,2.468,3.84,2.56), (0.858,2.468,0.91,2.52), (0.858,2.468,0.91,2.52), (0.858,2.468,0.91,2.52), (0.858,2.468,0.91,2.52), (0.858,2.468,0.91,2.52), (0.858,2.468,0.91,2.52), (0.858,2.468,0.91,2.52), (0.858,2.468,0.91,2.52), (0.858,2.468,0.91,2.52), (0.858,2.468,0.91,2.52), (0.858,2.468,0.91,2.52), (0.858,2.468,0.91,2.52), (3.41,2.468,3.462,2.52), (3.41,2.468,3.462,2.52), (3.41,2.468,3.462,2.52), (3.41,2.468,3.462,2.52), (3.41,2.468,3.462,2.52), (3.41,2.468,3.462,2.52), (3.41,2.468,3.462,2.52), (3.41,2.468,3.462,2.52), (3.41,2.468,3.462,2.52), (3.41,2.468,3.462,2.52), (3.41,2.468,3.462,2.52), (3.41,2.468,3.462,2.52), (3.41,2.468,3.462,2.52), (3.41,2.468,3.462,2.52), (3.41,2.468,3.462,2.52), (3.41,2.468,3.462,2.52)])
R(complex27, boundary, [(0,0,3.84,2.56)])
complex27.add(gdstk.Label('CL0#Y', (1.6,0.96), layer=11, texttype=0))
complex27.add(gdstk.Label('CL1#C', (2.72,1.28), layer=11, texttype=0))
complex27.add(gdstk.Label('CL2#C', (1.28,1.12), layer=11, texttype=0))
complex27.add(gdstk.Label('CL3#A', (2.08,1.28), layer=11, texttype=0))
complex27.add(gdstk.Label('CL3#B', (2.24,1.28), layer=11, texttype=0))
complex27.add(gdstk.Label('CL3#C', (2.4,1.28), layer=11, texttype=0))
complex27.add(gdstk.Label('CL4#A', (3.52,1.28), layer=11, texttype=0))
complex27.add(gdstk.Label('CL4#B', (3.68,1.28), layer=11, texttype=0))
complex27.add(gdstk.Label('CL5#A', (3.52,1.12), layer=11, texttype=0))
complex27.add(gdstk.Label('CL5#B', (3.2,1.28), layer=11, texttype=0))
complex27.add(gdstk.Label('CL6#A', (0.16,1.12), layer=11, texttype=0))
complex27.add(gdstk.Label('CL6#B', (0.48,1.12), layer=11, texttype=0))
complex27.add(gdstk.Label('CL7#A', (0.8,1.12), layer=11, texttype=0))
complex27.add(gdstk.Label('CL7#B', (0.64,1.12), layer=11, texttype=0))

lib.write_gds('COMPLEX27.gds')
